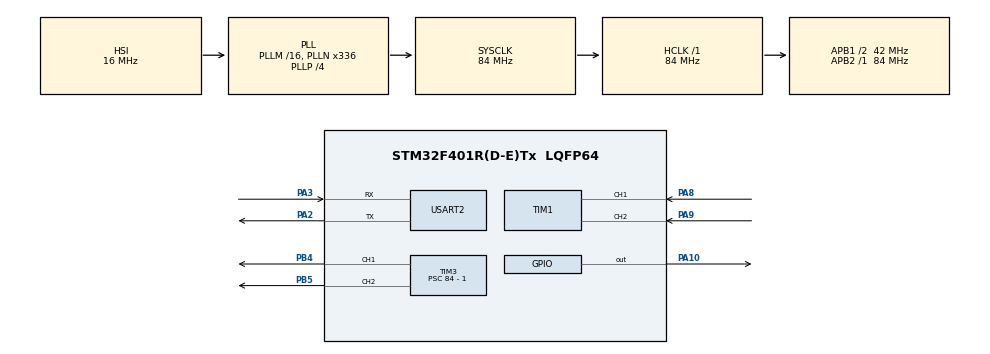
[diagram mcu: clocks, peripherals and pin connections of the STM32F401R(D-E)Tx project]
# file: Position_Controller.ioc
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Mcu.Family=STM32F4
Mcu.Name=STM32F401R(D-E)Tx
Mcu.Package=LQFP64
NVIC.PriorityGroup=NVIC_PRIORITYGROUP_4
NVIC.TIM4_IRQn=true\:0\:0\:false\:false\:true\:true\:true\:true
PA10.Signal=GPIO_Output
PA2.Mode=Asynchronous
PA2.Signal=USART2_TX
PA3.Mode=Asynchronous
PA3.Signal=USART2_RX
PA8.Signal=S_TIM1_CH1
PA9.Signal=S_TIM1_CH2
PB4.Signal=S_TIM3_CH1
PB5.Signal=S_TIM3_CH2
ProjectManager.HeapSize=0x200
ProjectManager.StackSize=0x400
ProjectManager.TargetToolchain=STM32CubeIDE
RCC.48MHZClocksFreq_Value=84000000
RCC.AHBFreq_Value=84000000
RCC.APB1CLKDivider=RCC_HCLK_DIV2
RCC.APB1Freq_Value=42000000
RCC.APB1TimFreq_Value=84000000
RCC.APB2Freq_Value=84000000
RCC.APB2TimFreq_Value=84000000
RCC.CortexFreq_Value=84000000
RCC.HCLKFreq_Value=84000000
RCC.HSE_VALUE=25000000
RCC.HSI_VALUE=16000000
RCC.LSE_VALUE=32768
RCC.PLLN=336
RCC.PLLP=RCC_PLLP_DIV4
RCC.SYSCLKFreq_VALUE=84000000
RCC.SYSCLKSource=RCC_SYSCLKSOURCE_PLLCLK
RCC.VCOOutputFreq_Value=336000000
SH.S_TIM1_CH1.0=TIM1_CH1,Encoder_Interface
SH.S_TIM1_CH2.0=TIM1_CH2,Encoder_Interface
SH.S_TIM3_CH1.0=TIM3_CH1,PWM Generation1 CH1
SH.S_TIM3_CH2.0=TIM3_CH2,PWM Generation2 CH2
TIM1.EncoderMode=TIM_ENCODERMODE_TI12
TIM3.AutoReloadPreload=TIM_AUTORELOAD_PRELOAD_ENABLE
TIM3.Channel-PWM\ Generation1\ CH1=TIM_CHANNEL_1
TIM3.Channel-PWM\ Generation2\ CH2=TIM_CHANNEL_2
TIM3.Period=500 - 1
TIM3.Prescaler=84 - 1
TIM4.Period=5000 - 1
TIM4.Prescaler=84 - 1
USART2.VirtualMode=VM_ASYNC
VP_TIM3_VS_ClockSourceINT.Mode=Internal
VP_TIM4_VS_ClockSourceINT.Mode=Internal
board=custom

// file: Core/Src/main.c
/* USER CODE BEGIN Header */
/**
 ******************************************************************************
 * @file           : main.c
 * @brief          : Main program body
 ******************************************************************************
 * @attention
 *
 * <h2><center>&copy; Copyright (c) 2021 STMicroelectronics.
 * All rights reserved.</center></h2>
 *
 * This software component is licensed by ST under BSD 3-Clause license,
 * the "License"; You may not use this file except in compliance with the
 * License. You may obtain a copy of the License at:
 *                        opensource.org/licenses/BSD-3-Clause
 *
 ******************************************************************************
 */
/* USER CODE END Header */
#include "main.h"

/* USER CODE BEGIN Includes */
#include "stdio.h"
#include "stdlib.h"
#include "stdbool.h"
#include "math.h"
#include "string.h"
#include  <errno.h>
#include  <sys/unistd.h> // STDOUT_FILENO, STDERR_FILENO
/* USER CODE END Includes */

/* USER CODE BEGIN PD */
#define WAITING 4 // the number of seconds to wait from one reference change to the next. It also coincides with the number of seconds between one USART send and the next
/* USER CODE END PD */

TIM_HandleTypeDef htim1;
TIM_HandleTypeDef htim3;
TIM_HandleTypeDef htim4;

UART_HandleTypeDef huart2;

void SystemClock_Config(void);
static void MX_GPIO_Init(void);
static void MX_USART2_UART_Init(void);
static void MX_TIM3_Init(void);
static void MX_TIM1_Init(void);
static void MX_TIM4_Init(void);

/* USER CODE BEGIN 0 */
/* BEGIN CIRCULAR DATA BUFFER */
typedef struct circular_buffer {
	void *buffer;     // data buffer
	void *buffer_end; // end of data buffer
	size_t capacity;  // maximum number of items in the buffer
	size_t count;     // number of items in the buffer
	size_t sz;        // size of each item in the buffer
	void *head;       // pointer to head
	void *tail;       // pointer to tail
	bool writing;  // signals if the buffer is being written
} circular_buffer;

void cb_init(circular_buffer *cb, size_t capacity, size_t sz) {
	cb->buffer = calloc(capacity, sz);
	if (cb->buffer == NULL)
		printf("ALLOCATED NULL\n\r");
	// handle error
	cb->buffer_end = (char*) cb->buffer + capacity * sz;
	cb->capacity = capacity;
	cb->count = 0;
	cb->sz = sz;
	cb->head = cb->buffer;
	cb->tail = cb->buffer;
	cb->writing = false;

}

void cb_free(circular_buffer *cb) {
	free(cb->buffer);
	// clear out other fields too, just to be safe
}

void cb_push_back(circular_buffer *cb, const void *item) {
	if (cb->count == cb->capacity) {
		printf("ERROR PUSH BACK \n\r");
		// handle error
	}
	cb->writing = true;
	memmove(cb->head, item, cb->sz);
	cb->head = (char*) cb->head + cb->sz;
	if (cb->head == cb->buffer_end)
		cb->head = cb->buffer;
	cb->count++;
	cb->writing = false;
}

void cb_pop_front(circular_buffer *cb, void *item) {
	if (cb->count == 0) {
		printf("ERROR PUSH BACK \n\r");
		// handle error
	}
	memmove(item, cb->tail, cb->sz);
	cb->tail = (char*) cb->tail + cb->sz;
	if (cb->tail == cb->buffer_end)
		cb->tail = cb->buffer;
	while ((cb->writing))
		;
	cb->count--;
}

circular_buffer myBuff;

/* BEGIN RECORD TYPEDEF*/
typedef struct record {
	double current_u; // value of the current controller output
	double current_y; // value of the current motor output (speed)
	uint32_t cycleCoreDuration; // time needed to read, compute and actuate
	uint32_t cycleBeginDelay; // difference between the actual and the expected absolute start time of the cycle
	uint32_t currentTimestamp; // current timestamp in millis
	double current_tick; // current encoder tick
	double reference; // reference value
	double last_tick; // last encoder tick
} record;

/* BEGIN USART WRITE FUNCTION (used by printf)*/
int _write(int file, char *data, int len) {
	if ((file != STDOUT_FILENO) && (file != STDERR_FILENO)) {
		errno = EBADF;
		return -1;
	}

	// arbitrary timeout 1000
	HAL_StatusTypeDef status = HAL_UART_Transmit(&huart2, (uint8_t*) data, len,
			1000);

	// return # of bytes written - as best we can tell
	return (status == HAL_OK ? len : 0);
}

void setPulseFromDutyValue(double dutyVal) {
	HAL_GPIO_WritePin(GPIOA, GPIO_PIN_10, GPIO_PIN_SET); // enable the motor driver

	uint16_t channelToModulate;
	uint16_t channelToStop;

	if (dutyVal > 0) {
		channelToModulate = TIM_CHANNEL_1;
		channelToStop = TIM_CHANNEL_2;
	} else {
		channelToModulate = TIM_CHANNEL_2;
		channelToStop = TIM_CHANNEL_1;
	}

	__HAL_TIM_SET_COMPARE(&htim3, channelToStop, 0);
	__HAL_TIM_SET_COMPARE(&htim3, channelToModulate,
			(abs(dutyVal) * ((double )htim3.Init.Period)) / 100); //cast integer value to double to correctly perform division between decimal numbers
}

double getSpeedByDelta(double ticksDelta) {
	return ticksDelta * 60 / (8400 * 0.005);
}

double getTicksDelta(double ticks, double last) {
	double delta;

	if (abs(ticks - last) <= ceil(12600 * 0.005))
		delta = ticks - last;
	else {
		if (last > ticks)
			delta = ticks + pow(2, 16) - 1 - last;
		else
			delta = ticks - pow(2, 16) + 1 - last;
	}
	return delta;
}

int cycleduration;
double lastTicks = 0;
double currentTicks = 0;
uint32_t ticControlStep;
uint32_t tocControlStep;
uint32_t controlComputationDuration;
double u_last_integrated = 0;
double u_last = 0;
double e_last = 0;
double Ts = 0.005;
double referenceVals[10] = { 0, 3.14159265359, 3.14159265359/2, 2*3.14159265359, 3.14159265359, 2*3.14159265359, 0, 3.14159265359, 3.14159265359, 0};
double referenceVal;
int referenceIndex = 0;
int control_step_counter = 0;
uint32_t k_controller = -1;
int samplingPrescaler = 2;
int samplingPrescalerCounter = 0;
double z_antiwindup_last = 0;
double ticksStar = 0;

typedef struct controller_gains{
	double K1;
	double K2;
	double K3;
	double KI;
	double Kr;
} controller_gains;

controller_gains controller_gain = {
	.K1 = 26.724886043281135,
	.K2 = 3.066733303520890e+02,
	.K3 = 8.782176686411950,
	.KI = 0.079056941504208,
	.Kr = 52.4788586698761706
};

typedef struct observer_A_s{
	double A11;
	double A12;
	double A13;
	double A21;
	double A22;
	double A23;
	double A31;
	double A32;
	double A33;
} observer_A_t;

observer_A_t observer_A = {
	.A11 = 0.931605363824459,
	.A12 = -11.346656884140103,
	.A13 = 0.039099543321700,
	.A21 = 0.002741925544432,
	.A22 = 0.119498209981127,
	.A23 = 5.550203919352659e-05,
	.A31 = -0.007094455468349,
	.A32 = -2.896588572120294,
	.A33 = 0.837920445653216
};

typedef struct observer_B_s{
	double B11;
	double B12;
	double B21;
	double B22;
	double B31;
	double B32;
} observer_B_t;

observer_B_t observer_B = {
	.B11 = -0.004047022543127,
	.B12 = 1.941673905307397,
	.B21 = -5.744773077210588e-06,
	.B22 = 0.150674103104834,
	.B31 = 0.036776145051735,
	.B32 = 0.495672910737163
};

typedef struct observer_C_s{
	double C11;
	double C12;
	double C13;
	double C21;
	double C22;
	double C23;
	double C31;
	double C32;
	double C33;
} observer_C_t;

observer_C_t observer_C = {
	.C11 = 0.965802681912229,
	.C12 = -5.673328442070051,
	.C13 = 0.019549771660850,
	.C21 = 0.001370962772216,
	.C22 = 0.559749104990563,
	.C23 = 2.775101959676330e-05,
	.C31 = -0.003547227734175,
	.C32 = -1.448294286060147,
	.C33 = 0.918960222826608
};

typedef struct observer_D_s{
	double D11;
	double D12;
	double D21;
	double D22;
	double D31;
	double D32;
} observer_D_t;

observer_D_t observer_D = {
	.D11 = -0.002023511271564,
	.D12 = 0.970836952653698,
	.D21 = -2.872386538605294e-06,
	.D22 = 0.075337051552417,
	.D31 = 0.018388072525868,
	.D32 = 0.247836455368581
};

typedef struct x_hat_s {
	double x1;
	double x2;
	double x3;
} x_hat_t;

x_hat_t observer_state = {0, 0, 0};

double sign(double x) {
	if (x >= 0)
		return 1;
	else
		return -1;
}

double getPositionByDelta(double ticksDelta) {
	//
	ticksStar = ticksStar + (double)ticksDelta;
	double position = 2*3.14159265359*(ticksStar/8400);
	return position;
}

/* USER CODE END 0 */

int main(void) {
	/* MCU Configuration--------------------------------------------------------*/

	/* Reset of all peripherals, Initializes the Flash interface and the Systick. */
	HAL_Init();

	/* USER CODE BEGIN Init */
	size_t bufferSize = (size_t)ceil(4 * WAITING / (Ts * samplingPrescaler));
	cb_init(&myBuff, bufferSize, sizeof(record));

	/* USER CODE END Init */

	/* Configure the system clock */
	SystemClock_Config();

	/* Initialize all configured peripherals */
	MX_GPIO_Init();
	MX_USART2_UART_Init();
	MX_TIM3_Init();
	MX_TIM1_Init();
	MX_TIM4_Init();
	/* USER CODE BEGIN 2 */
	HAL_TIM_PWM_Start(&htim3, TIM_CHANNEL_1);
	HAL_TIM_PWM_Start(&htim3, TIM_CHANNEL_2);

	referenceVal = referenceVals[referenceIndex];
	printf("INIT\n\r"); // initialize the Matlab tool for COM data acquiring
	HAL_Delay(1000);
	printf("INIT\n\r"); // initialize the Matlab tool for COM data acquiring
	HAL_TIM_Base_Start(&htim1);
	HAL_TIM_Base_Start_IT(&htim4);
	/* USER CODE END 2 */

	/* Infinite loop */
	/* USER CODE BEGIN WHILE */

	while (1) {
		size_t nEntriesToSend = myBuff.count; //number of samples not read yet
		record retrieved; //buffer entry

		for (size_t count = 0; count < nEntriesToSend; count++) {
			cb_pop_front(&myBuff, &retrieved); //take entry from the buffer
			printf("%Lf, %f, %f, %lu, %f\n\r", (long double)retrieved.currentTimestamp*Ts*0.2,
					retrieved.current_u, retrieved.current_y,
					retrieved.cycleCoreDuration,retrieved.reference); // send values via USART using format: value1, value2, value3, ... valuen \n \r
		}
		//referenceVal = referenceVals[referenceIndex];
		//referenceIndex = referenceIndex + 1;
		HAL_Delay(WAITING*1000); // takes a time value in ms
		//if (referenceIndex > 10)
		//	referenceIndex = 0;

		/* USER CODE END WHILE */

	}
}

void SystemClock_Config(void) {
	RCC_OscInitTypeDef RCC_OscInitStruct = { 0 };
	RCC_ClkInitTypeDef RCC_ClkInitStruct = { 0 };

	/** Configure the main internal regulator output voltage
	 */
	__HAL_RCC_PWR_CLK_ENABLE();
	__HAL_PWR_VOLTAGESCALING_CONFIG(PWR_REGULATOR_VOLTAGE_SCALE2);
	/** Initializes the RCC Oscillators according to the specified parameters
	 * in the RCC_OscInitTypeDef structure.
	 */
	RCC_OscInitStruct.OscillatorType = RCC_OSCILLATORTYPE_HSI;
	RCC_OscInitStruct.HSIState = RCC_HSI_ON;
	RCC_OscInitStruct.HSICalibrationValue = RCC_HSICALIBRATION_DEFAULT;
	RCC_OscInitStruct.PLL.PLLState = RCC_PLL_ON;
	RCC_OscInitStruct.PLL.PLLSource = RCC_PLLSOURCE_HSI;
	RCC_OscInitStruct.PLL.PLLM = 16;
	RCC_OscInitStruct.PLL.PLLN = 336;
	RCC_OscInitStruct.PLL.PLLP = RCC_PLLP_DIV4;
	RCC_OscInitStruct.PLL.PLLQ = 4;
	if (HAL_RCC_OscConfig(&RCC_OscInitStruct) != HAL_OK) {
		Error_Handler();
	}
	/** Initializes the CPU, AHB and APB buses clocks
	 */
	RCC_ClkInitStruct.ClockType = RCC_CLOCKTYPE_HCLK | RCC_CLOCKTYPE_SYSCLK
			| RCC_CLOCKTYPE_PCLK1 | RCC_CLOCKTYPE_PCLK2;
	RCC_ClkInitStruct.SYSCLKSource = RCC_SYSCLKSOURCE_PLLCLK;
	RCC_ClkInitStruct.AHBCLKDivider = RCC_SYSCLK_DIV1;
	RCC_ClkInitStruct.APB1CLKDivider = RCC_HCLK_DIV2;
	RCC_ClkInitStruct.APB2CLKDivider = RCC_HCLK_DIV1;

	if (HAL_RCC_ClockConfig(&RCC_ClkInitStruct, FLASH_LATENCY_2) != HAL_OK) {
		Error_Handler();
	}
}

static void MX_TIM1_Init(void) {

	TIM_Encoder_InitTypeDef sConfig = { 0 };
	TIM_MasterConfigTypeDef sMasterConfig = { 0 };

	htim1.Instance = TIM1;
	htim1.Init.Prescaler = 0;
	htim1.Init.CounterMode = TIM_COUNTERMODE_UP;
	htim1.Init.Period = 65535;
	htim1.Init.ClockDivision = TIM_CLOCKDIVISION_DIV1;
	htim1.Init.RepetitionCounter = 0;
	htim1.Init.AutoReloadPreload = TIM_AUTORELOAD_PRELOAD_DISABLE;
	sConfig.EncoderMode = TIM_ENCODERMODE_TI12;
	sConfig.IC1Polarity = TIM_ICPOLARITY_RISING;
	sConfig.IC1Selection = TIM_ICSELECTION_DIRECTTI;
	sConfig.IC1Prescaler = TIM_ICPSC_DIV1;
	sConfig.IC1Filter = 0;
	sConfig.IC2Polarity = TIM_ICPOLARITY_RISING;
	sConfig.IC2Selection = TIM_ICSELECTION_DIRECTTI;
	sConfig.IC2Prescaler = TIM_ICPSC_DIV1;
	sConfig.IC2Filter = 0;
	if (HAL_TIM_Encoder_Init(&htim1, &sConfig) != HAL_OK) {
		Error_Handler();
	}
	sMasterConfig.MasterOutputTrigger = TIM_TRGO_RESET;
	sMasterConfig.MasterSlaveMode = TIM_MASTERSLAVEMODE_DISABLE;
	if (HAL_TIMEx_MasterConfigSynchronization(&htim1, &sMasterConfig)
			!= HAL_OK) {
		Error_Handler();
	}

}

static void MX_TIM3_Init(void) {

	TIM_ClockConfigTypeDef sClockSourceConfig = { 0 };
	TIM_MasterConfigTypeDef sMasterConfig = { 0 };
	TIM_OC_InitTypeDef sConfigOC = { 0 };

	htim3.Instance = TIM3;
	htim3.Init.Prescaler = 84 - 1;
	htim3.Init.CounterMode = TIM_COUNTERMODE_UP;
	htim3.Init.Period = 500 - 1;
	htim3.Init.ClockDivision = TIM_CLOCKDIVISION_DIV1;
	htim3.Init.AutoReloadPreload = TIM_AUTORELOAD_PRELOAD_ENABLE;
	if (HAL_TIM_Base_Init(&htim3) != HAL_OK) {
		Error_Handler();
	}
	sClockSourceConfig.ClockSource = TIM_CLOCKSOURCE_INTERNAL;
	if (HAL_TIM_ConfigClockSource(&htim3, &sClockSourceConfig) != HAL_OK) {
		Error_Handler();
	}
	if (HAL_TIM_PWM_Init(&htim3) != HAL_OK) {
		Error_Handler();
	}
	sMasterConfig.MasterOutputTrigger = TIM_TRGO_RESET;
	sMasterConfig.MasterSlaveMode = TIM_MASTERSLAVEMODE_DISABLE;
	if (HAL_TIMEx_MasterConfigSynchronization(&htim3, &sMasterConfig)
			!= HAL_OK) {
		Error_Handler();
	}
	sConfigOC.OCMode = TIM_OCMODE_PWM1;
	sConfigOC.Pulse = 0;
	sConfigOC.OCPolarity = TIM_OCPOLARITY_HIGH;
	sConfigOC.OCFastMode = TIM_OCFAST_DISABLE;
	if (HAL_TIM_PWM_ConfigChannel(&htim3, &sConfigOC, TIM_CHANNEL_1)
			!= HAL_OK) {
		Error_Handler();
	}
	if (HAL_TIM_PWM_ConfigChannel(&htim3, &sConfigOC, TIM_CHANNEL_2)
			!= HAL_OK) {
		Error_Handler();
	}
	HAL_TIM_MspPostInit(&htim3);

}

static void MX_TIM4_Init(void) {

	TIM_ClockConfigTypeDef sClockSourceConfig = { 0 };
	TIM_MasterConfigTypeDef sMasterConfig = { 0 };

	htim4.Instance = TIM4;
	htim4.Init.Prescaler = 84 - 1;
	htim4.Init.CounterMode = TIM_COUNTERMODE_UP;
	htim4.Init.Period = 5000 - 1;
	htim4.Init.ClockDivision = TIM_CLOCKDIVISION_DIV1;
	htim4.Init.AutoReloadPreload = TIM_AUTORELOAD_PRELOAD_DISABLE;
	if (HAL_TIM_Base_Init(&htim4) != HAL_OK) {
		Error_Handler();
	}
	sClockSourceConfig.ClockSource = TIM_CLOCKSOURCE_INTERNAL;
	if (HAL_TIM_ConfigClockSource(&htim4, &sClockSourceConfig) != HAL_OK) {
		Error_Handler();
	}
	sMasterConfig.MasterOutputTrigger = TIM_TRGO_RESET;
	sMasterConfig.MasterSlaveMode = TIM_MASTERSLAVEMODE_DISABLE;
	if (HAL_TIMEx_MasterConfigSynchronization(&htim4, &sMasterConfig)
			!= HAL_OK) {
		Error_Handler();
	}

}

static void MX_USART2_UART_Init(void) {

	huart2.Instance = USART2;
	huart2.Init.BaudRate = 115200;
	huart2.Init.WordLength = UART_WORDLENGTH_8B;
	huart2.Init.StopBits = UART_STOPBITS_1;
	huart2.Init.Parity = UART_PARITY_NONE;
	huart2.Init.Mode = UART_MODE_TX_RX;
	huart2.Init.HwFlowCtl = UART_HWCONTROL_NONE;
	huart2.Init.OverSampling = UART_OVERSAMPLING_16;
	if (HAL_UART_Init(&huart2) != HAL_OK) {
		Error_Handler();
	}

}

static void MX_GPIO_Init(void) {
	GPIO_InitTypeDef GPIO_InitStruct = { 0 };

	/* GPIO Ports Clock Enable */
	__HAL_RCC_GPIOA_CLK_ENABLE();
	__HAL_RCC_GPIOB_CLK_ENABLE();

	/*Configure GPIO pin Output Level */
	HAL_GPIO_WritePin(GPIOA, GPIO_PIN_10, GPIO_PIN_RESET);

	/*Configure GPIO pin : PA10 */
	GPIO_InitStruct.Pin = GPIO_PIN_10;
	GPIO_InitStruct.Mode = GPIO_MODE_OUTPUT_PP;
	GPIO_InitStruct.Pull = GPIO_NOPULL;
	GPIO_InitStruct.Speed = GPIO_SPEED_FREQ_LOW;
	HAL_GPIO_Init(GPIOA, &GPIO_InitStruct);

}

/* USER CODE BEGIN 4 */
x_hat_t get_x_hat(double u_last, double y_now) {
	double x1 = observer_state.x1;
	double x2 = observer_state.x2;
	double x3 = observer_state.x3;

	double u = u_last;
	double y = y_now;

	x_hat_t state_estimated = {0,0,0};

	state_estimated.x1 = observer_C.C11 * x1 + observer_C.C12 * x2 + observer_C.C13 * x3 + observer_D.D11 * u + observer_D.D12 * y;
	state_estimated.x2 = observer_C.C21 * x1 + observer_C.C22 * x2 + observer_C.C23 * x3 + observer_D.D21 * u + observer_D.D22 * y;
	state_estimated.x3 = observer_C.C31 * x1 + observer_C.C32 * x2 + observer_C.C33 * x3 + observer_D.D31 * u + observer_D.D32 * y;

	double x1_new = observer_A.A11 * x1 + observer_A.A12 * x2 + observer_A.A13 * x3 + observer_B.B11 * u + observer_B.B12 * y;
	double x2_new = observer_A.A21 * x1 + observer_A.A22 * x2 + observer_A.A23 * x3 + observer_B.B21 * u + observer_B.B22 * y;
	double x3_new = observer_A.A31 * x1 + observer_A.A32 * x2 + observer_A.A33 * x3 + observer_B.B31 * u + observer_B.B32 * y;

	observer_state.x1 = x1_new;
	observer_state.x2 = x2_new;
	observer_state.x3 = x3_new;

	return state_estimated;
}

void HAL_TIM_PeriodElapsedCallback(TIM_HandleTypeDef *htim) {
	if (htim == &htim4) {
		k_controller = k_controller + 1;
		control_step_counter += 1;
		if (k_controller == 0) {
			ticControlStep = HAL_GetTick();
		}
		tocControlStep = HAL_GetTick();

		currentTicks = (double) __HAL_TIM_GET_COUNTER(&htim1); //take current value of ticks counting the encoder edges
		// double speed = getSpeedByDelta(
		// 		getTicksDelta(currentTicks, lastTicks));

		if(control_step_counter % (int)((int)WAITING/Ts) == 0){
			referenceIndex = referenceIndex + 1;
			if (referenceIndex >= 10)
				referenceIndex = 0;
			referenceVal = referenceVals[referenceIndex];
		}

		double position = getPositionByDelta(
				getTicksDelta(currentTicks, lastTicks));

		// double e = referenceVal - speed;
		double e = referenceVal - position;

		x_hat_t state_estimated = get_x_hat(u_last, position);

		double u = -controller_gain.K1 * state_estimated.x1 - controller_gain.K2 * state_estimated.x2 - controller_gain.K3 * state_estimated.x3 + controller_gain.Kr * referenceVal;

		double z_q_gamma = controller_gain.KI*(e +  e_last);
		double u_integrator = z_antiwindup_last + z_q_gamma;

		if(u_integrator > 12){
			u_integrator = 12;
		}else if(u_integrator < -12){
			u_integrator = -12;
		}
		z_antiwindup_last = u_integrator;
		u += u_integrator;

		setPulseFromDutyValue(u * 100 / 12);

		u_last_integrated = u_integrator;
		u_last = u;
		if(u_last>12)
			u_last=12;
		else if(u_last < -12)
			u_last=-12;
		e_last = e;

		controlComputationDuration = HAL_GetTick() - tocControlStep;
		double temp = lastTicks;
		lastTicks = currentTicks;
		// recording data in the buffer
		record r;
		r.current_u = u_last;
		r.current_y = position;
		r.last_tick = temp;
		r.reference = referenceVal;
		r.current_tick = currentTicks;
		r.cycleCoreDuration = controlComputationDuration;
		r.cycleBeginDelay = tocControlStep - ticControlStep
				- (k_controller * Ts * 1000);
		r.currentTimestamp = HAL_GetTick();
		if (samplingPrescalerCounter == (samplingPrescaler - 1)) {
			cb_push_back(&myBuff, &r);
			samplingPrescalerCounter = -1;
		}
		samplingPrescalerCounter++;
	}
}
/* USER CODE END 4 */

void Error_Handler(void) {
	__disable_irq();
	while (1) {
	}
}

/************************ (C) COPYRIGHT STMicroelectronics *****END OF FILE****/
